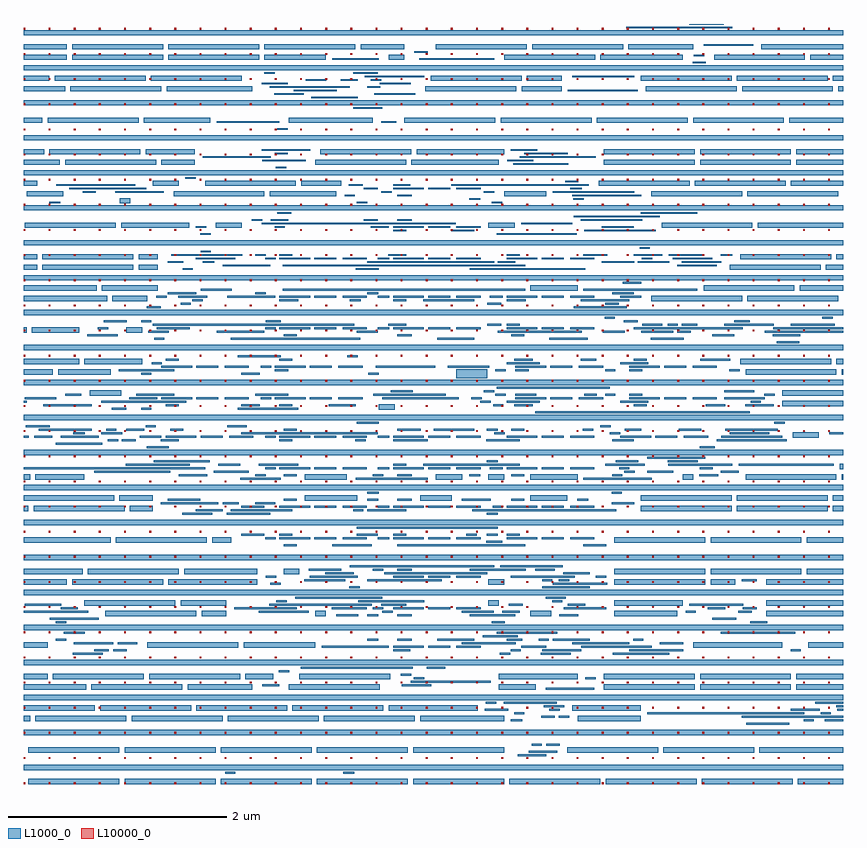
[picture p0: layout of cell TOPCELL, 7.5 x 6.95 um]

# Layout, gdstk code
import gdstk
lib = gdstk.Library(unit=1e-6, precision=1e-09)
def R(c, l, rs):  # rectangles x0, y0, x1, y1
    for r in rs: c.add(gdstk.rectangle(r[:2], r[2:], *l))
def A(c, l, x, y, w, h, nx, ny, dx, dy):  # array of equal rectangles
    R(c, l, [(x+i*dx, y+j*dy, x+i*dx+w, y+j*dy+h) for i in range(nx) for j in range(ny)])
L1000_0 = (1000, 0)
L10000_0 = (10000, 0)

topcell = lib.new_cell('TOPCELL')
A(topcell, L1000_0, -64.456, -131.048, 0.832, 0.01, 8, 1, 0.88, 0)
A(topcell, L1000_0, -64.456, -131.038, 0.832, 0.038, 8, 1, 0.88, 0)
A(topcell, L1000_0, -64.5, -130.92, 7.5, 0.048, 1, 22, 0, 0.32)
A(topcell, L1000_0, -64.456, -130.76, 0.832, 0.048, 5, 1, 0.88, 0)
A(topcell, L1000_0, -64.392, -130.472, 0.832, 0.048, 4, 1, 0.88, 0)
A(topcell, L1000_0, -63.8, -130.376, 0.832, 0.048, 3, 1, 0.88, 0)
A(topcell, L1000_0, -62.16, -128.808, 0.281, 0.016, 3, 2, 1.04, 0.288)
A(topcell, L1000_0, -61.84, -128.808, 0.201, 0.016, 3, 2, 1.04, 0.288)
A(topcell, L1000_0, -61.58, -128.808, 0.221, 0.016, 3, 2, 1.04, 0.288)
A(topcell, L1000_0, -62.16, -128.776, 0.12, 0.016, 3, 1, 1.04, 0)
A(topcell, L1000_0, -62.16, -128.168, 0.281, 0.016, 3, 2, 1.04, 1.28)
A(topcell, L1000_0, -61.84, -128.168, 0.201, 0.016, 3, 2, 1.04, 1.28)
A(topcell, L1000_0, -61.58, -128.168, 0.221, 0.016, 3, 2, 1.04, 1.28)
A(topcell, L1000_0, -63.2, -127.88, 0.281, 0.016, 5, 1, 1.04, 0)
A(topcell, L1000_0, -62.88, -127.88, 0.201, 0.016, 5, 1, 1.04, 0)
A(topcell, L1000_0, -62.62, -127.88, 0.221, 0.016, 5, 1, 1.04, 0)
A(topcell, L1000_0, -62.16, -126.6, 0.281, 0.016, 3, 2, 1.04, 0.352)
A(topcell, L1000_0, -61.84, -126.6, 0.201, 0.016, 3, 2, 1.04, 0.352)
A(topcell, L1000_0, -61.58, -126.6, 0.221, 0.016, 3, 2, 1.04, 0.352)
A(topcell, L1000_0, -61.016, -125, 0.832, 0.048, 4, 1, 0.88, 0)
A(topcell, L1000_0, -64.056, -124.328, 0.832, 0.048, 3, 1, 0.88, 0)
R(topcell, L1000_0, [(-57.416,-131.048,-57,-131.038), (-57.416,-131.038,-57,-131), (-62.657,-130.952,-62.563,-130.936), (-61.577,-130.952,-61.475,-130.936), (-59.98,-130.792,-59.719,-130.776), (-59.88,-130.76,-59.619,-130.744), (-59.528,-130.76,-58.696,-130.712), (-58.648,-130.76,-57.816,-130.712), (-57.768,-130.76,-57,-130.712), (-59.852,-130.696,-59.758,-130.68), (-59.72,-130.696,-59.595,-130.68), (-57.889,-130.504,-57.495,-130.488), (-64.5,-130.472,-64.44,-130.424), (-60.872,-130.472,-60.104,-130.424), (-60.044,-130.472,-59.939,-130.456), (-59.432,-130.472,-58.856,-130.424), (-57.364,-130.472,-57.27,-130.456), (-57.169,-130.472,-57,-130.456), (-59.764,-130.44,-59.639,-130.424), (-59.604,-130.44,-59.51,-130.424), (-57.929,-130.44,-57,-130.424), (-60.012,-130.408,-59.918,-130.392), (-58.796,-130.408,-57.359,-130.392), (-57.209,-130.408,-57.115,-130.392), (-64.5,-130.376,-63.848,-130.328), (-61.16,-130.376,-60.344,-130.328), (-60.28,-130.376,-60.067,-130.36), (-59.692,-130.376,-59.595,-130.36), (-59.48,-130.376,-58.856,-130.328), (-57.48,-130.376,-57.219,-130.36), (-57.057,-130.376,-57,-130.36), (-59.74,-130.344,-59.555,-130.328), (-57.068,-130.344,-57,-130.328), (-60.272,-130.312,-60.178,-130.296), (-60.108,-130.312,-59.622,-130.296), (-57.26,-130.312,-57,-130.296), (-64.5,-130.184,-63.928,-130.136), (-63.88,-130.184,-63.048,-130.136), (-63,-130.184,-62.408,-130.136), (-62.072,-130.184,-61.24,-130.136), (-60.152,-130.184,-59.816,-130.136), (-59.724,-130.184,-59.279,-130.168), (-59.192,-130.184,-58.36,-130.136), (-58.312,-130.184,-57.48,-130.136), (-57.432,-130.184,-57,-130.136), (-62.316,-130.152,-62.159,-130.136), (-61.04,-130.152,-60.771,-130.136), (-60.96,-130.12,-60.227,-130.104), (-64.5,-130.088,-64.28,-130.04), (-64.232,-130.088,-63.4,-130.04), (-63.352,-130.088,-62.52,-130.04), (-62.472,-130.088,-62.216,-130.04), (-61.976,-130.088,-61.144,-130.04), (-60.929,-130.088,-60.835,-130.072), (-60.152,-130.088,-59.432,-130.04), (-59.364,-130.088,-59.267,-130.072), (-59.192,-130.088,-58.36,-130.04), (-58.312,-130.088,-57.48,-130.04), (-57.432,-130.088,-57,-130.04), (-61.049,-130.056,-60.955,-130.04), (-62.164,-130.024,-62.07,-130.008), (-61.964,-129.992,-60.942,-129.976), (-60.812,-129.992,-60.643,-129.976), (-64.049,-129.864,-63.775,-129.848), (-60.144,-129.864,-60.05,-129.848), (-59.769,-129.864,-59.495,-129.848), (-59.109,-129.864,-58.595,-129.848), (-63.852,-129.832,-63.719,-129.816), (-63.68,-129.832,-63.555,-129.816), (-61.12,-129.832,-60.963,-129.816), (-60.044,-129.832,-59.95,-129.816), (-59.756,-129.832,-59.399,-129.816), (-58.96,-129.832,-58.467,-129.816), (-57.484,-129.832,-57.39,-129.816), (-64.5,-129.8,-64.28,-129.752), (-63.368,-129.8,-62.536,-129.752), (-62.488,-129.8,-61.832,-129.752), (-61.772,-129.8,-61.159,-129.784), (-61.12,-129.8,-60.839,-129.784), (-60.8,-129.8,-60.599,-129.784), (-60.54,-129.8,-60.319,-129.784), (-59.948,-129.8,-59.719,-129.784), (-59.4,-129.8,-58.755,-129.784), (-58.376,-129.8,-57.56,-129.752), (-57.32,-129.8,-57,-129.752), (-64.04,-129.768,-63.679,-129.752), (-63.64,-129.768,-63.459,-129.752), (-60.492,-129.768,-59.999,-129.752), (-59.48,-129.768,-58.959,-129.752), (-58.68,-129.768,-58.467,-129.752), (-64.204,-129.736,-64.11,-129.72), (-61.356,-129.736,-61.255,-129.72), (-61.08,-129.736,-60.947,-129.72), (-60.716,-129.736,-60.379,-129.72), (-60.08,-129.736,-59.939,-129.72), (-59.789,-129.736,-59.695,-129.72), (-59.66,-129.736,-59.319,-129.72), (-58.924,-129.736,-58.83,-129.72), (-60.3,-129.704,-59.98,-129.688), (-64.133,-129.672,-63.939,-129.656), (-60.172,-129.672,-59.619,-129.656), (-58.124,-129.672,-57.443,-129.656), (-64.204,-129.576,-64.11,-129.56), (-60.217,-129.576,-60.099,-129.56), (-57.853,-129.576,-57.699,-129.56), (-64.26,-129.544,-63.811,-129.528), (-58.2,-129.544,-57.979,-129.528), (-63.752,-129.512,-62.92,-129.464), (-62.872,-129.512,-62.648,-129.464), (-61.832,-129.512,-61.736,-129.464), (-61.64,-129.512,-61.439,-129.496), (-61.356,-129.512,-61.255,-129.496), (-61.08,-129.512,-60.947,-129.496), (-60.42,-129.512,-60.003,-129.496), (-59.864,-129.512,-59.672,-129.464), (-59.6,-129.512,-59.427,-129.496), (-59.096,-129.512,-58.52,-129.464), (-57.704,-129.512,-57,-129.464), (-64.5,-129.48,-63.907,-129.464), (-62.348,-129.48,-61.891,-129.464), (-61.217,-129.48,-61.123,-129.464), (-60.492,-129.48,-60.199,-129.464), (-60.12,-129.48,-59.959,-129.464), (-58.444,-129.48,-58.35,-129.464), (-57.964,-129.48,-57.839,-129.464), (-64.16,-129.448,-64.003,-129.432), (-62.572,-129.448,-61.999,-129.432), (-61.68,-129.448,-61.359,-129.432), (-61.304,-129.448,-61.21,-129.432), (-61.12,-129.448,-60.839,-129.432), (-60.8,-129.448,-60.599,-129.432), (-60.54,-129.448,-60.319,-129.432), (-59.56,-129.448,-59.171,-129.432), (-58.24,-129.448,-58.083,-129.432), (-57.92,-129.448,-57.795,-129.432), (-64.489,-129.416,-64.155,-129.4), (-63.944,-129.416,-63.112,-129.368), (-63.064,-129.416,-62.648,-129.368), (-62.252,-129.416,-61.315,-129.4), (-61.228,-129.416,-61,-129.4), (-60.248,-129.416,-60.152,-129.368), (-60.06,-129.416,-59.935,-129.4), (-59.52,-129.416,-59.363,-129.4), (-59.096,-129.416,-58.472,-129.368), (-58.409,-129.416,-57.915,-129.4), (-57.704,-129.416,-57,-129.368), (-62.188,-129.384,-62.094,-129.368), (-61.44,-129.384,-60.835,-129.368), (-59.664,-129.384,-59.57,-129.368), (-62.013,-129.352,-61.219,-129.336), (-59.724,-129.352,-59.542,-129.336), (-61.52,-129.256,-61.426,-129.24), (-59.756,-129.256,-59.323,-129.24), (-64.5,-129.224,-64.104,-129.176), (-64.056,-129.224,-63.224,-129.176), (-63.176,-129.224,-62.36,-129.176), (-62.244,-129.224,-62.147,-129.208), (-60.248,-129.224,-60.104,-129.176), (-59.66,-129.224,-59.159,-129.208), (-59.096,-129.224,-58.264,-129.176), (-58.216,-129.224,-57.992,-129.176), (-57.704,-129.224,-57,-129.176), (-61.932,-129.192,-61.559,-129.176), (-61.356,-129.192,-60.675,-129.176), (-59.756,-129.192,-59.662,-129.176), (-59.604,-129.192,-59.51,-129.176), (-57.932,-129.192,-57.795,-129.176), (-62.284,-129.16,-62.19,-129.144), (-61.88,-129.16,-61.443,-129.144), (-61.12,-129.16,-60.839,-129.144), (-60.8,-129.16,-60.599,-129.144), (-60.54,-129.16,-60.319,-129.144), (-60.044,-129.16,-59.459,-129.144), (-59.265,-129.16,-59.171,-129.144), (-64.5,-129.128,-63.96,-129.08), (-63.912,-129.128,-63.08,-129.08), (-63.032,-129.128,-62.36,-129.08), (-62.12,-129.128,-61.976,-129.08), (-61.74,-129.128,-61.479,-129.112), (-61.2,-129.128,-60.259,-129.112), (-59.564,-129.128,-59.319,-129.112), (-59.096,-129.128,-58.264,-129.08), (-58.216,-129.128,-57.384,-129.08), (-57.336,-129.128,-57,-129.08), (-61.889,-129.096,-61.595,-129.08), (-61.304,-129.096,-61.21,-129.08), (-61.08,-129.096,-60.947,-129.08), (-60.42,-129.096,-59.907,-129.08), (-59.82,-129.096,-59.639,-129.08), (-61.516,-129.064,-60.195,-129.048), (-60.14,-129.064,-59.568,-129.048), (-62.12,-128.872,-62,-128.856), (-61.676,-128.872,-61.315,-128.856), (-61.08,-128.872,-59.912,-128.856), (-59.38,-128.872,-59.171,-128.856), (-64.5,-128.84,-63.704,-128.792), (-63.656,-128.84,-62.824,-128.792), (-62.776,-128.84,-62.6,-128.792), (-60.268,-128.84,-60.119,-128.824), (-59.096,-128.84,-58.264,-128.792), (-58.216,-128.84,-57.384,-128.792), (-57.336,-128.84,-57,-128.792), (-62.289,-128.808,-62.195,-128.792), (-61.26,-128.808,-61.155,-128.792), (-62.508,-128.776,-62.299,-128.76), (-61.452,-128.776,-61.259,-128.76), (-60.449,-128.776,-60.355,-128.76), (-60.264,-128.776,-60.163,-128.76), (-61.452,-128.712,-60.163,-128.696), (-63.049,-128.584,-62.775,-128.568), (-62.64,-128.584,-62.243,-128.568), (-60.264,-128.584,-60.163,-128.568), (-64.5,-128.552,-64.456,-128.504), (-64.408,-128.552,-63.576,-128.504), (-63.528,-128.552,-63.32,-128.504), (-62.924,-128.552,-62.679,-128.536), (-62.604,-128.552,-62.04,-128.536), (-61.485,-128.552,-61.391,-128.536), (-61.356,-128.552,-61,-128.536), (-60.396,-128.552,-59.079,-128.536), (-58.856,-128.552,-58.024,-128.504), (-57.976,-128.552,-57.144,-128.504), (-57.096,-128.552,-57,-128.504), (-62.508,-128.52,-62.299,-128.504), (-61.26,-128.52,-61.155,-128.504), (-60.209,-128.52,-60.115,-128.504), (-63.244,-128.488,-62.719,-128.472), (-62.68,-128.488,-62.531,-128.472), (-62.38,-128.488,-62.199,-128.472), (-59.12,-128.488,-58.915,-128.472), (-64.5,-128.456,-63.672,-128.408), (-63.624,-128.456,-63.32,-128.408), (-63.18,-128.456,-62.883,-128.44), (-62.12,-128.456,-62,-128.44), (-61.928,-128.456,-61.448,-128.408), (-61.356,-128.456,-61.255,-128.44), (-61.08,-128.456,-60.947,-128.44), (-60.872,-128.456,-60.584,-128.408), (-60.492,-128.456,-60.227,-128.44), (-60.04,-128.456,-59.92,-128.44), (-59.864,-128.456,-59.528,-128.408), (-59.436,-128.456,-59.335,-128.44), (-58.856,-128.456,-58.024,-128.408), (-57.976,-128.456,-57.144,-128.408), (-57.096,-128.456,-57,-128.408), (-61.356,-128.392,-61.251,-128.376), (-59.12,-128.392,-59.026,-128.376), (-64.5,-128.264,-64.44,-128.216), (-64.392,-128.264,-63.944,-128.216), (-62.52,-128.264,-62.147,-128.248), (-61.928,-128.264,-61.544,-128.216), (-61.46,-128.264,-60.803,-128.248), (-60.728,-128.264,-60.488,-128.216), (-60.248,-128.264,-60.104,-128.216), (-59.864,-128.264,-59.432,-128.216), (-59.38,-128.264,-58.755,-128.248), (-58.472,-128.264,-58.376,-128.216), (-57.896,-128.264,-57.064,-128.216), (-57.016,-128.264,-57,-128.216), (-63.08,-128.232,-62.819,-128.216), (-62.38,-128.232,-62.286,-128.216), (-62.12,-128.232,-62,-128.216), (-61.304,-128.232,-61.21,-128.216), (-61.08,-128.232,-60.947,-128.216), (-60.424,-128.232,-60.323,-128.216), (-60.04,-128.232,-59.92,-128.216), (-59.116,-128.232,-59.022,-128.216), (-58.32,-128.232,-58.147,-128.216), (-63.852,-128.2,-63.159,-128.184), (-62.76,-128.2,-62.439,-128.184), (-59.004,-128.2,-58.91,-128.184), (-58.796,-128.2,-58.559,-128.184), (-58.124,-128.2,-57.959,-128.184), (-64.5,-128.168,-62.839,-128.152), (-62.289,-128.168,-62.195,-128.152), (-61.26,-128.168,-61.155,-128.152), (-60.236,-128.168,-60.115,-128.152), (-59.052,-128.168,-58.958,-128.152), (-58.316,-128.168,-58.195,-128.152), (-57.032,-128.168,-57,-128.12), (-63.564,-128.136,-62.979,-128.12), (-62.72,-128.136,-62.519,-128.12), (-62.348,-128.136,-61.987,-128.12), (-61.12,-128.136,-61,-128.12), (-60.844,-128.136,-59.96,-128.12), (-59.18,-128.136,-58.819,-128.12), (-58.604,-128.136,-58.019,-128.12), (-57.96,-128.136,-57.091,-128.12), (-63.309,-128.104,-62.795,-128.088), (-60.264,-128.104,-60.163,-128.088), (-59.084,-128.104,-58.879,-128.088), (-58.609,-128.104,-58.335,-128.088), (-58.796,-128.072,-58.262,-128.056), (-63.372,-127.976,-63.171,-127.96), (-58.316,-127.976,-58.179,-127.96), (-64.204,-127.944,-63.779,-127.928), (-63.729,-127.912,-63.635,-127.896), (-63.6,-127.912,-63.475,-127.896), (-63.244,-127.912,-63.08,-127.896), (-62.16,-127.912,-62.04,-127.896), (-61.464,-127.912,-61.37,-127.896), (-61.12,-127.912,-60.803,-127.896), (-60.268,-127.912,-59.96,-127.896), (-59.116,-127.912,-58.92,-127.896), (-58.16,-127.912,-57.519,-127.896), (-64.5,-127.88,-64.451,-127.864), (-64.4,-127.88,-64.239,-127.864), (-64.16,-127.88,-63.811,-127.864), (-63.436,-127.88,-63.239,-127.864), (-62.289,-127.88,-62.195,-127.864), (-61.26,-127.88,-61.155,-127.864), (-58.12,-127.88,-57.559,-127.864), (-57.464,-127.88,-57.224,-127.832), (-64.044,-127.848,-63.939,-127.832), (-63.788,-127.848,-63.599,-127.832), (-62.508,-127.848,-61.259,-127.832), (-60.193,-127.848,-60.099,-127.832), (-59.137,-127.848,-59.043,-127.832), (-58.04,-127.848,-57.679,-127.832), (-57.132,-127.848,-57,-127.832), (-64.36,-127.816,-63.875,-127.8), (-63.745,-127.816,-63.651,-127.8), (-63.56,-127.816,-63.395,-127.8), (-63.16,-127.816,-63.04,-127.8), (-62.12,-127.816,-62,-127.8), (-61.08,-127.816,-60.867,-127.8), (-60.748,-127.816,-60.379,-127.8), (-60.264,-127.816,-60.163,-127.8), (-60.04,-127.816,-59.92,-127.8), (-59.384,-127.816,-59.29,-127.8), (-59,-127.816,-58.851,-127.8), (-58.508,-127.816,-58.299,-127.8), (-58.08,-127.816,-57.599,-127.8), (-64.48,-127.784,-64.259,-127.768), (-63.384,-127.784,-63.29,-127.768), (-62.636,-127.784,-62.459,-127.768), (-59.224,-127.784,-59.13,-127.768), (-61.452,-127.752,-61.251,-127.736), (-57.633,-127.752,-57.539,-127.736), (-59.82,-127.656,-57.859,-127.64), (-63.692,-127.624,-63.559,-127.608), (-63.424,-127.624,-63.33,-127.608), (-62.54,-127.624,-61.987,-127.608), (-61.252,-127.624,-61.104,-127.576), (-64.32,-127.592,-63.875,-127.576), (-63.2,-127.592,-63.08,-127.576), (-62.508,-127.592,-62.339,-127.576), (-62.16,-127.592,-62.04,-127.576), (-61.708,-127.592,-61.459,-127.576), (-60.204,-127.592,-60.11,-127.576), (-60.012,-127.592,-59.84,-127.576), (-58.92,-127.592,-58.8,-127.576), (-58.26,-127.592,-58.083,-127.576), (-57.9,-127.592,-57.639,-127.576), (-57.56,-127.592,-57,-127.544), (-64.5,-127.56,-64.47,-127.544), (-63.788,-127.56,-63.011,-127.544), (-60.324,-127.56,-60.227,-127.544), (-60.08,-127.56,-59.779,-127.544), (-59.04,-127.56,-58.787,-127.544), (-57.849,-127.56,-57.755,-127.544), (-64.489,-127.528,-64.199,-127.512), (-63.532,-127.528,-63.279,-127.512), (-63.24,-127.528,-62.959,-127.512), (-62.92,-127.528,-62.719,-127.512), (-62.66,-127.528,-62.439,-127.512), (-62.329,-127.528,-62.235,-127.512), (-62.2,-127.528,-61.919,-127.512), (-61.88,-127.528,-61.679,-127.512), (-61.62,-127.528,-61.399,-127.512), (-61.221,-127.528,-60.519,-127.512), (-60.404,-127.528,-60.31,-127.512), (-60,-127.528,-59.719,-127.512), (-59.68,-127.528,-59.479,-127.512), (-59.42,-127.528,-59.199,-127.512), (-58.96,-127.528,-58.679,-127.512), (-58.64,-127.528,-58.439,-127.512), (-58.38,-127.528,-58.159,-127.512), (-58.092,-127.528,-57.719,-127.512), (-64.12,-127.496,-63.971,-127.48), (-63.896,-127.496,-63.608,-127.448), (-63.468,-127.496,-63.12,-127.48), (-62.38,-127.496,-62.08,-127.48), (-61.3,-127.496,-60.639,-127.48), (-60.184,-127.496,-60.09,-127.48), (-60,-127.496,-59.811,-127.48), (-59.372,-127.496,-59.255,-127.48), (-59.18,-127.496,-59.086,-127.48), (-58.96,-127.496,-58.84,-127.48), (-57.724,-127.496,-57.63,-127.48), (-57.56,-127.496,-57,-127.448), (-61.14,-127.464,-60.939,-127.448), (-60.289,-127.464,-60.195,-127.448), (-58.089,-127.464,-57.815,-127.448), (-60.172,-127.432,-59.139,-127.416), (-60.54,-127.336,-60.26,-127.256), (-64.5,-127.304,-64.232,-127.256), (-64.184,-127.304,-63.704,-127.256), (-63.425,-127.304,-63.331,-127.288), (-62.508,-127.304,-62.339,-127.288), (-61.345,-127.304,-61.251,-127.288), (-57.896,-127.304,-57.064,-127.256), (-57.016,-127.304,-57,-127.256), (-63.628,-127.272,-63.12,-127.256), (-62.2,-127.272,-62.08,-127.256), (-60.184,-127.272,-60.09,-127.256), (-60,-127.272,-59.88,-127.256), (-59.18,-127.272,-59.086,-127.256), (-58.96,-127.272,-58.84,-127.256), (-58.044,-127.272,-57.95,-127.256), (-63.24,-127.24,-62.959,-127.224), (-62.92,-127.24,-62.719,-127.224), (-62.66,-127.24,-62.439,-127.224), (-62.329,-127.24,-62.235,-127.224), (-62.2,-127.24,-61.919,-127.224), (-61.88,-127.24,-61.679,-127.224), (-61.62,-127.24,-61.399,-127.224), (-61.28,-127.24,-60.736,-127.224), (-60.621,-127.24,-60.239,-127.224), (-60,-127.24,-59.719,-127.224), (-59.68,-127.24,-59.479,-127.224), (-59.42,-127.24,-59.199,-127.224), (-58.96,-127.24,-58.679,-127.224), (-58.64,-127.24,-58.439,-127.224), (-58.38,-127.24,-58.159,-127.224), (-64.5,-127.208,-63.992,-127.16), (-63.944,-127.208,-63.416,-127.16), (-63.329,-127.208,-63.235,-127.192), (-60.08,-127.208,-59.779,-127.192), (-59.04,-127.208,-58.787,-127.192), (-57.944,-127.208,-57.112,-127.16), (-57.064,-127.208,-57,-127.16), (-63.2,-127.176,-63.08,-127.16), (-62.16,-127.176,-62.04,-127.16), (-60.012,-127.176,-59.84,-127.16), (-59.404,-127.176,-59.259,-127.16), (-58.92,-127.176,-58.8,-127.16), (-58.309,-127.176,-58.035,-127.16), (-62.54,-127.144,-62.147,-127.128), (-61.537,-127.144,-61.443,-127.128), (-57.612,-127.016,-57.403,-127), (-63.305,-126.984,-63.211,-126.968), (-62.604,-126.984,-61.419,-126.968), (-60.716,-126.984,-60.379,-126.968), (-59.692,-126.984,-59.339,-126.968), (-58.764,-126.984,-58.46,-126.968), (-63.916,-126.952,-63.639,-126.936), (-62.12,-126.952,-62,-126.936), (-61.08,-126.952,-60.947,-126.936), (-60.04,-126.952,-59.92,-126.936), (-58.2,-126.952,-57.999,-126.936), (-57.649,-126.952,-57.395,-126.936), (-64.5,-126.92,-64.472,-126.872), (-64.424,-126.92,-63.992,-126.872), (-63.56,-126.92,-63.416,-126.872), (-63.36,-126.92,-63.171,-126.904), (-62.732,-126.92,-62.299,-126.904), (-61.452,-126.92,-61.259,-126.904), (-60.16,-126.92,-59.395,-126.904), (-59.2,-126.92,-58.999,-126.904), (-58.849,-126.92,-58.555,-126.904), (-58.52,-126.92,-58.395,-126.904), (-57.72,-126.92,-57,-126.904), (-63.82,-126.888,-63.726,-126.872), (-63.28,-126.888,-62.979,-126.872), (-62.289,-126.888,-62.195,-126.872), (-61.26,-126.888,-61.155,-126.872), (-58.92,-126.888,-57.919,-126.872), (-57.64,-126.888,-57,-126.872), (-63.32,-126.856,-61.475,-126.84), (-61.164,-126.856,-61,-126.84), (-60.26,-126.856,-60.131,-126.84), (-60.08,-126.856,-59.96,-126.84), (-58.84,-126.856,-58.659,-126.84), (-58.609,-126.856,-58.515,-126.84), (-58.48,-126.856,-58.339,-126.84), (-58.092,-126.856,-57.639,-126.84), (-57.484,-126.856,-57.079,-126.84), (-63.768,-126.824,-63.555,-126.808), (-63.425,-126.824,-63.331,-126.808), (-62.284,-126.824,-62.147,-126.808), (-59.008,-126.824,-58.883,-126.808), (-58,-126.824,-57.859,-126.808), (-59.184,-126.792,-59.09,-126.776), (-57.196,-126.792,-57.098,-126.776), (-63.372,-126.696,-63.243,-126.68), (-59.468,-126.696,-58.982,-126.68), (-63.064,-126.664,-62.97,-126.648), (-60.26,-126.664,-60.131,-126.648), (-59.18,-126.664,-59.055,-126.648), (-64.5,-126.632,-63.736,-126.584), (-63.688,-126.632,-63.368,-126.584), (-62.956,-126.632,-62.862,-126.616), (-62.16,-126.632,-61.987,-126.616), (-61.516,-126.632,-61.415,-126.616), (-61.12,-126.632,-61,-126.616), (-60.844,-126.632,-60.379,-126.616), (-60.08,-126.632,-59.907,-126.616), (-59.404,-126.632,-58.959,-126.616), (-58.76,-126.632,-57.928,-126.584), (-57.88,-126.632,-57.048,-126.584), (-63.284,-126.6,-63.19,-126.584), (-63.084,-126.6,-62.819,-126.584), (-62.636,-126.6,-62.199,-126.584), (-61.26,-126.6,-61.155,-126.584), (-60.236,-126.6,-60.115,-126.584), (-59.04,-126.6,-58.851,-126.584), (-63.18,-126.568,-62.919,-126.552), (-62.38,-126.568,-62.286,-126.552), (-61.356,-126.568,-61.255,-126.552), (-59.116,-126.568,-58.919,-126.552), (-64.5,-126.536,-63.832,-126.488), (-63.784,-126.536,-63.272,-126.488), (-62.88,-126.536,-62.595,-126.52), (-62.128,-126.536,-59.912,-126.52), (-59.864,-126.536,-59.432,-126.488), (-59.38,-126.536,-58.339,-126.52), (-58.28,-126.536,-57.448,-126.488), (-57.4,-126.536,-57,-126.488), (-59.02,-126.472,-58.851,-126.456), (-64.5,-126.344,-64.376,-126.296), (-64.328,-126.344,-63.496,-126.296), (-63.448,-126.344,-63.272,-126.296), (-63.044,-126.344,-62.95,-126.328), (-61.46,-126.344,-61.251,-126.328), (-60.42,-126.344,-59.363,-126.328), (-58.04,-126.344,-57.208,-126.296), (-57.16,-126.344,-57,-126.296), (-62.68,-126.312,-62.243,-126.296), (-62.128,-126.312,-59.912,-126.296), (-58.52,-126.312,-58.159,-126.296), (-63.18,-126.28,-63.039,-126.264), (-62.86,-126.28,-62.755,-126.264), (-61.356,-126.28,-60.195,-126.264), (-60.16,-126.28,-60.003,-126.264), (-59.209,-126.28,-58.915,-126.264), (-58.88,-126.28,-58.595,-126.264), (-58.48,-126.28,-58.119,-126.264), (-64.5,-126.248,-64.376,-126.2), (-64.328,-126.248,-63.496,-126.2), (-63.448,-126.248,-63.272,-126.2), (-62.924,-126.248,-62.563,-126.232), (-62.289,-126.248,-62.195,-126.232), (-61.26,-126.248,-61.155,-126.232), (-58.844,-126.248,-58.75,-126.232), (-58.56,-126.248,-58.199,-126.232), (-57.944,-126.248,-57.112,-126.2), (-57.064,-126.248,-57,-126.2), (-63.148,-126.216,-62.499,-126.2), (-62.38,-126.216,-62.286,-126.2), (-62.16,-126.216,-62.04,-126.2), (-61.164,-126.216,-61,-126.2), (-60.08,-126.216,-59.96,-126.2), (-59.38,-126.216,-59.159,-126.2), (-58.92,-126.216,-58.659,-126.2), (-58.6,-126.216,-58.279,-126.2), (-58.124,-126.216,-58.019,-126.2), (-62.881,-126.184,-62.787,-126.168), (-58.864,-126.152,-58.77,-126.136), (-62.884,-126.024,-62.787,-126.008), (-60.172,-126.024,-59.439,-126.008), (-61.12,-125.992,-61,-125.976), (-60.588,-125.992,-60.379,-125.976), (-59.372,-125.992,-58.719,-125.976), (-64.488,-125.96,-63.656,-125.912), (-63.608,-125.96,-62.984,-125.912), (-62.924,-125.96,-62.83,-125.944), (-62.744,-125.96,-62.504,-125.912), (-62.204,-125.96,-62.11,-125.944), (-61.324,-125.96,-61.159,-125.944), (-61.12,-125.96,-60.839,-125.944), (-60.8,-125.96,-60.599,-125.944), (-60.54,-125.96,-60.319,-125.944), (-60.248,-125.96,-60.008,-125.912), (-59.212,-125.96,-58.919,-125.944), (-58.664,-125.96,-57.832,-125.912), (-57.784,-125.96,-57,-125.912), (-62.32,-125.928,-60.547,-125.912), (-59.948,-125.928,-59.479,-125.912), (-62.412,-125.896,-62.318,-125.88), (-62.24,-125.896,-62.079,-125.88), (-61.388,-125.896,-61.259,-125.88), (-61.08,-125.896,-60.947,-125.88), (-59.404,-125.896,-58.839,-125.88), (-59.468,-125.864,-58.679,-125.848), (-62.177,-125.832,-62.051,-125.816), (-58.853,-125.832,-58.339,-125.816), (-64.264,-125.736,-64.163,-125.72), (-63.62,-125.736,-63.524,-125.688), (-61.452,-125.736,-61.358,-125.72), (-60.217,-125.736,-60.123,-125.72), (-60.424,-125.704,-60.323,-125.688), (-59.47,-125.704,-59.376,-125.688), (-64.472,-125.672,-64.136,-125.624), (-63.128,-125.672,-62.296,-125.624), (-62.248,-125.672,-61.64,-125.624), (-61.564,-125.672,-61.47,-125.656), (-61.08,-125.672,-60.947,-125.656), (-60.104,-125.672,-59.72,-125.624), (-59.48,-125.672,-58.851,-125.656), (-58.76,-125.672,-57.928,-125.624), (-57.88,-125.672,-57.048,-125.624), (-63.96,-125.64,-63.84,-125.624), (-63.66,-125.64,-63.219,-125.624), (-61.228,-125.64,-61.134,-125.624), (-60.289,-125.64,-60.195,-125.624), (-59.66,-125.64,-58.915,-125.624), (-64.08,-125.608,-63.379,-125.592), (-61.388,-125.608,-61.259,-125.592), (-61.12,-125.608,-60.839,-125.592), (-60.8,-125.608,-60.599,-125.592), (-60.54,-125.608,-60.319,-125.592), (-59.5,-125.608,-59.395,-125.592), (-64.5,-125.576,-64.376,-125.528), (-64.2,-125.576,-63.479,-125.56), (-63.32,-125.576,-63.08,-125.528), (-62.84,-125.576,-62.008,-125.528), (-61.96,-125.576,-61.592,-125.528), (-61.524,-125.576,-61.395,-125.56), (-61.12,-125.576,-60.963,-125.56), (-60.588,-125.576,-59.331,-125.56), (-59.24,-125.576,-58.408,-125.528), (-58.36,-125.576,-57.528,-125.528), (-57.48,-125.576,-57,-125.528), (-59.544,-125.544,-59.427,-125.528), (-63.02,-125.512,-62.926,-125.496), (-62.192,-125.416,-62.098,-125.4), (-64.5,-125.384,-64.168,-125.336), (-64.12,-125.384,-63.288,-125.336), (-63.24,-125.384,-62.936,-125.336), (-61.832,-125.384,-61,-125.336), (-60.952,-125.384,-60.152,-125.336), (-60.02,-125.384,-59.519,-125.368), (-59.192,-125.384,-58.36,-125.336), (-58.312,-125.384,-57.48,-125.336), (-57.432,-125.384,-57,-125.336), (-62.316,-125.352,-61.919,-125.336), (-60.076,-125.352,-59.839,-125.336), (-62.86,-125.32,-62.239,-125.304), (-59.96,-125.32,-59.267,-125.304), (-64.5,-125.288,-64.312,-125.24), (-64.264,-125.288,-63.432,-125.24), (-63.384,-125.288,-62.936,-125.24), (-62.204,-125.288,-62.083,-125.272), (-61.784,-125.288,-60.952,-125.24), (-60.904,-125.288,-60.104,-125.24), (-59.92,-125.288,-59.523,-125.272), (-59.192,-125.288,-58.36,-125.24), (-58.312,-125.288,-57.48,-125.24), (-57.432,-125.288,-57,-125.24), (-62.32,-125.256,-61.879,-125.24), (-60.044,-125.256,-59.799,-125.24), (-62.177,-125.064,-62.083,-125.048), (-64.5,-125,-64.328,-124.952), (-64.28,-125,-63.448,-124.952), (-63.4,-125,-62.792,-124.952), (-62.732,-125,-62.159,-124.984), (-62.072,-125,-61.304,-124.952), (-61.228,-125,-61.091,-124.984), (-57.496,-125,-57,-124.952), (-61.484,-124.872,-61.219,-124.856), (-61.868,-124.776,-61.443,-124.76), (-62.209,-124.744,-61.935,-124.728), (-61.292,-124.744,-60.919,-124.728), (-64.5,-124.712,-64.12,-124.664), (-64.072,-124.712,-63.24,-124.664), (-63.192,-124.712,-62.408,-124.664), (-62.028,-124.712,-61.635,-124.696), (-60.824,-124.712,-59.992,-124.664), (-59.944,-124.712,-59.576,-124.664), (-59.52,-124.712,-58.883,-124.696), (-58.808,-124.712,-57.976,-124.664), (-57.928,-124.712,-57.096,-124.664), (-57.048,-124.712,-57,-124.664), (-62.249,-124.68,-61.515,-124.664), (-61.356,-124.68,-61.235,-124.664), (-62.32,-124.648,-62.083,-124.632), (-61.24,-124.648,-60.959,-124.632), (-64.5,-124.616,-64.264,-124.568), (-64.216,-124.616,-63.384,-124.568), (-63.336,-124.616,-62.504,-124.568), (-61.92,-124.616,-61.731,-124.6), (-61.6,-124.616,-61.443,-124.6), (-61.324,-124.616,-61.23,-124.6), (-60.776,-124.616,-59.944,-124.568), (-59.896,-124.616,-59.576,-124.568), (-58.856,-124.616,-58.024,-124.568), (-57.976,-124.616,-57.144,-124.568), (-57.096,-124.616,-57,-124.568), (-61.38,-124.584,-60.835,-124.568), (-59.48,-124.584,-58.915,-124.568), (-62.297,-124.552,-62.203,-124.536), (-61.484,-124.552,-61.262,-124.536), (-58.38,-124.456,-58.258,-124.44), (-64.5,-124.424,-64.104,-124.376), (-64.056,-124.424,-63.224,-124.376), (-63.176,-124.424,-62.344,-124.376), (-62.296,-124.424,-61.736,-124.376), (-61.676,-124.424,-61.251,-124.408), (-61.16,-124.424,-61.016,-124.376), (-60.88,-124.424,-60.195,-124.408), (-60.104,-124.424,-59.272,-124.376), (-59.224,-124.424,-58.472,-124.376), (-58.184,-124.424,-57.352,-124.376), (-57.304,-124.424,-57,-124.376), (-58.369,-124.392,-58.275,-124.376), (-60.924,-124.36,-60.803,-124.344), (-64.5,-124.328,-64.104,-124.28), (-61.416,-124.328,-61.016,-124.28), (-60.728,-124.328,-59.896,-124.28), (-59.848,-124.328,-59.016,-124.28), (-58.968,-124.328,-58.376,-124.28), (-57.752,-124.328,-57,-124.28), (-58.28,-124.296,-57.827,-124.28), (-58.988,-124.136,-58.019,-124.12), (-58.409,-124.104,-58.095,-124.096)])
A(topcell, L10000_0, -64.5, -131.048, 0.016, 0.016, 33, 31, 0.23, 0.23)

lib.write_gds('TOPCELL.gds')
